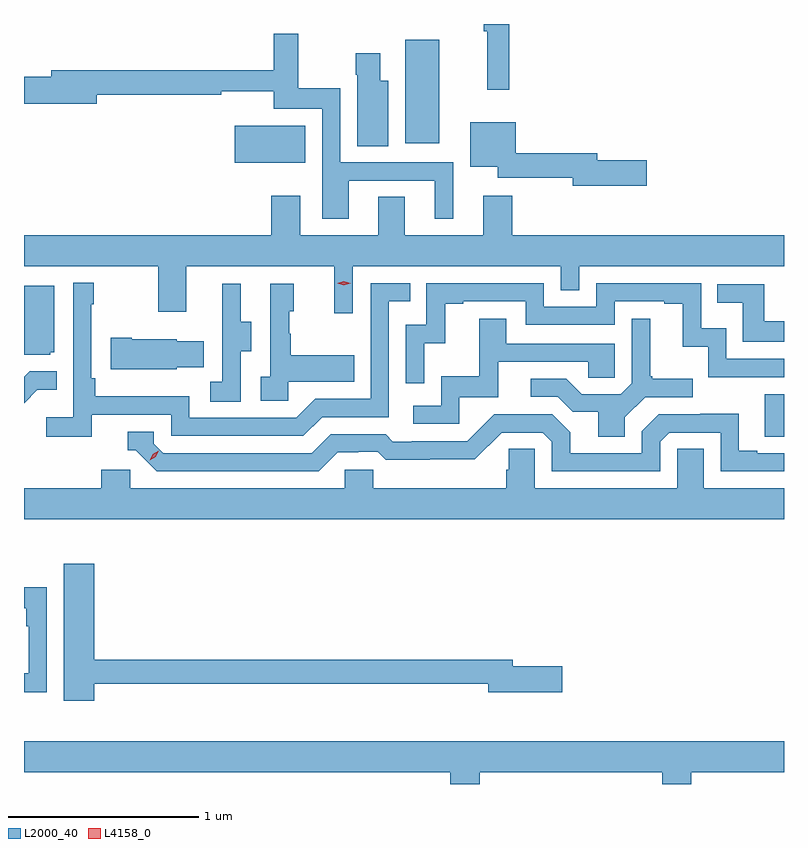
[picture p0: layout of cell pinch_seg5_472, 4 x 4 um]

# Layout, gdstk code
import gdstk
lib = gdstk.Library(unit=1e-6, precision=1e-09)
def R(c, l, rs):  # rectangles x0, y0, x1, y1
    for r in rs: c.add(gdstk.rectangle(r[:2], r[2:], *l))
def P(c, l, *ps):  # polygons
    for p in ps: c.add(gdstk.Polygon(p, *l))
L2000_40 = (2000, 40)
L4158_0 = (4158, 0)

pinch_seg5_472 = lib.new_cell('pinch_seg5_472')
R(pinch_seg5_472, L2000_40, [(938.693,837.214,938.794,837.438), (935.903,838.658,936.274,838.852), (936.8,838.76,936.979,839.305)])
P(pinch_seg5_472, L2000_40, [(937.349,839.387),(937.213,839.387),(937.213,839.348),(937.231,839.348),(937.231,839.04),(937.349,839.04)],
  [(936.502,838.563),(936.956,838.563),(936.956,838.362),(937.054,838.362),(937.054,838.659),(936.459,838.659),(936.459,839.05),(936.238,839.05),(936.238,839.335),(936.109,839.335),(936.109,839.143),(934.937,839.143),(934.937,839.109),(934.794,839.109),(934.794,838.967),(935.176,838.967),(935.176,839.014),(935.832,839.014),(935.832,839.033),(936.109,839.033),(936.109,838.941),(936.363,838.941),(936.363,838.362),(936.502,838.362)],
  [(936.712,839.089),(936.67,839.089),(936.67,839.233),(936.541,839.233),(936.541,839.12),(936.548,839.12),(936.548,838.744),(936.712,838.744)],
  [(938.071,838.67),(937.81,838.67),(937.81,838.706),(937.383,838.706),(937.383,838.87),(937.142,838.87),(937.142,838.637),(937.287,838.637),(937.287,838.578),(937.682,838.578),(937.682,838.535),(938.071,838.535)],
  [(937.364,838.483),(937.211,838.483),(937.211,838.276),(936.799,838.276),(936.799,838.478),(936.659,838.478),(936.659,838.276),(936.247,838.276),(936.247,838.483),(936.095,838.483),(936.095,838.276),(934.794,838.276),(934.794,838.112),(935.5,838.112),(935.5,837.873),(935.647,837.873),(935.647,838.112),(936.428,838.112),(936.428,837.864),(936.525,837.864),(936.525,838.112),(937.62,838.112),(937.62,837.985),(937.716,837.985),(937.716,838.112),(938.794,838.112),(938.794,838.276),(937.364,838.276)],
  [(935.15,837.33),(935.568,837.33),(935.568,837.219),(936.265,837.219),(936.364,837.318),(936.714,837.318),(936.714,837.927),(936.827,837.927),(936.827,838.023),(936.618,838.023),(936.618,837.414),(936.327,837.414),(936.228,837.315),(935.664,837.315),(935.664,837.427),(935.168,837.427),(935.168,837.523),(935.148,837.523),(935.148,837.911),(935.161,837.911),(935.161,838.024),(935.052,838.024),(935.052,837.316),(934.911,837.316),(934.911,837.214),(935.15,837.214)],
  [(936.9,837.707),(937.01,837.707),(937.01,837.915),(937.105,837.915),(937.105,837.927),(937.434,837.927),(937.434,837.804),(937.902,837.804),(937.902,837.927),(938.165,837.927),(938.165,837.915),(938.261,837.915),(938.261,837.689),(938.394,837.689),(938.394,837.528),(938.794,837.528),(938.794,837.624),(938.49,837.624),(938.49,837.787),(938.358,837.787),(938.358,838.023),(937.806,838.023),(937.806,837.9),(937.53,837.9),(937.53,838.023),(936.912,838.023),(936.912,837.804),(936.804,837.804),(936.804,837.495),(936.9,837.495)],
  [(936.186,837.503),(936.533,837.503),(936.533,837.643),(936.199,837.643),(936.199,837.758),(936.189,837.758),(936.189,837.876),(936.214,837.876),(936.214,838.021),(936.09,838.021),(936.09,837.53),(936.039,837.53),(936.039,837.405),(936.186,837.405)],
  [(935.934,837.664),(935.989,837.664),(935.989,837.819),(935.935,837.819),(935.935,838.021),(935.837,838.021),(935.837,837.807),(935.838,837.807),(935.838,837.503),(935.775,837.503),(935.775,837.4),(935.934,837.4)],
  [(938.794,837.823),(938.689,837.823),(938.689,838.017),(938.443,838.017),(938.443,837.92),(938.578,837.92),(938.578,837.714),(938.794,837.714)],
  [(934.932,837.66),(934.954,837.66),(934.954,838.009),(934.796,838.009),(934.796,837.754),(934.794,837.754),(934.794,837.645),(934.932,837.645)],
  [(937.957,837.316),(938.064,837.423),(938.314,837.423),(938.314,837.52),(938.101,837.52),(938.101,837.532),(938.089,837.532),(938.089,837.835),(937.992,837.835),(937.992,837.495),(937.935,837.438),(937.729,837.438),(937.648,837.519),(937.461,837.519),(937.461,837.426),(937.602,837.426),(937.682,837.346),(937.817,837.346),(937.817,837.214),(937.957,837.214)],
  [(937.086,837.423),(937.291,837.423),(937.291,837.609),(937.765,837.609),(937.765,837.525),(937.902,837.525),(937.902,837.705),(937.333,837.705),(937.333,837.835),(937.189,837.835),(937.189,837.532),(936.99,837.532),(936.99,837.378),(936.843,837.378),(936.843,837.282),(937.086,837.282)],
  [(935.598,837.581),(935.741,837.581),(935.741,837.718),(935.598,837.718),(935.598,837.727),(935.362,837.727),(935.362,837.735),(935.25,837.735),(935.25,837.569),(935.598,837.569)],
  [(934.863,837.461),(934.967,837.461),(934.967,837.56),(934.823,837.56),(934.794,837.531),(934.794,837.392)],
  [(936.445,837.132),(936.552,837.132),(936.552,837.135),(936.655,837.135),(936.697,837.093),(936.93,837.093),(936.93,837.095),(937.166,837.095),(937.308,837.237),(937.524,837.237),(937.572,837.189),(937.572,837.033),(938.142,837.033),(938.142,837.189),(938.19,837.237),(938.46,837.237),(938.46,837.033),(938.794,837.033),(938.794,837.129),(938.653,837.129),(938.653,837.142),(938.557,837.142),(938.557,837.335),(938.352,837.335),(938.352,837.333),(938.136,837.333),(938.046,837.243),(938.046,837.129),(937.669,837.129),(937.669,837.239),(937.575,837.333),(937.269,837.333),(937.128,837.192),(936.835,837.192),(936.835,837.189),(936.736,837.189),(936.697,837.228),(936.408,837.228),(936.309,837.129),(935.526,837.129),(935.478,837.177),(935.478,837.24),(935.339,837.24),(935.339,837.144),(935.382,837.144),(935.493,837.033),(936.346,837.033)],
  [(938.794,836.944),(938.371,836.944),(938.371,837.152),(938.232,837.152),(938.232,836.944),(937.482,836.944),(937.482,837.152),(937.345,837.152),(937.345,837.042),(937.331,837.042),(937.331,836.944),(936.633,836.944),(936.633,837.042),(936.483,837.042),(936.483,836.944),(935.352,836.944),(935.352,837.042),(935.201,837.042),(935.201,836.944),(934.794,836.944),(934.794,836.78),(938.794,836.78)],
  [(935.164,835.914),(937.238,835.914),(937.238,835.871),(937.627,835.871),(937.627,836.006),(937.366,836.006),(937.366,836.042),(935.164,836.042),(935.164,836.545),(935.003,836.545),(935.003,835.824),(935.164,835.824)],
  [(934.914,836.422),(934.794,836.422),(934.794,836.312),(934.805,836.312),(934.805,836.216),(934.818,836.216),(934.818,835.971),(934.794,835.971),(934.794,835.87),(934.914,835.87)],
  [(937.193,835.448),(938.153,835.448),(938.153,835.387),(938.306,835.387),(938.306,835.448),(938.794,835.448),(938.794,835.612),(934.794,835.612),(934.794,835.448),(937.037,835.448),(937.037,835.387),(937.193,835.387)])
P(pinch_seg5_472, L4158_0, [(936.478,838.013),(936.442,838.022),(936.442,838.023),(936.442,838.023),(936.478,838.033),(936.513,838.023),(936.514,838.023),(936.513,838.022)],
  [(935.456,837.09),(935.456,837.09),(935.472,837.123),(935.503,837.142),(935.503,837.142),(935.503,837.142),(935.487,837.109),(935.456,837.09)])

lib.write_gds('pinch_seg5_472.gds')
